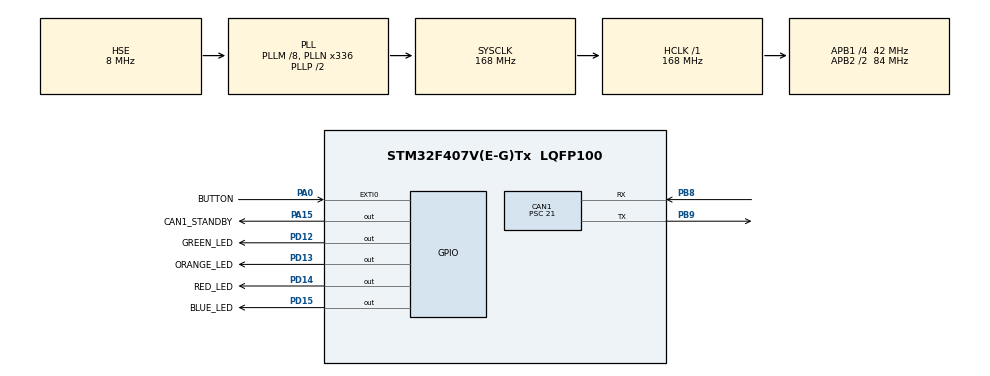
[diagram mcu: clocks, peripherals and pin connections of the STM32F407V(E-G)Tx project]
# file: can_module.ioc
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CAN1.BS1=CAN_BS1_5TQ
CAN1.BS2=CAN_BS2_2TQ
CAN1.CalculateTimeQuantum=500.0
CAN1.Prescaler=21
Mcu.Family=STM32F4
Mcu.Name=STM32F407V(E-G)Tx
Mcu.Package=LQFP100
NVIC.CAN1_RX0_IRQn=true\:1\:0\:true\:false\:true\:true\:true
NVIC.EXTI0_IRQn=true\:1\:0\:true\:false\:true\:true\:true
NVIC.PriorityGroup=NVIC_PRIORITYGROUP_4
PA0-WKUP.GPIO_Label=BUTTON
PA0-WKUP.Signal=GPXTI0
PA15.GPIO_Label=CAN1_STANDBY
PA15.Signal=GPIO_Output
PB8.Mode=Master
PB8.Signal=CAN1_RX
PB9.Mode=Master
PB9.Signal=CAN1_TX
PD12.GPIO_Label=GREEN_LED
PD12.Signal=GPIO_Output
PD13.GPIO_Label=ORANGE_LED
PD13.Signal=GPIO_Output
PD14.GPIO_Label=RED_LED
PD14.Signal=GPIO_Output
PD15.GPIO_Label=BLUE_LED
PD15.Signal=GPIO_Output
PH0-OSC_IN.Mode=HSE-External-Oscillator
PH0-OSC_IN.Signal=RCC_OSC_IN
PH1-OSC_OUT.Mode=HSE-External-Oscillator
PH1-OSC_OUT.Signal=RCC_OSC_OUT
ProjectManager.HeapSize=0x200
ProjectManager.StackSize=0x400
ProjectManager.TargetToolchain=STM32CubeIDE
RCC.48MHZClocksFreq_Value=84000000
RCC.AHBFreq_Value=168000000
RCC.APB1CLKDivider=RCC_HCLK_DIV4
RCC.APB1Freq_Value=42000000
RCC.APB1TimFreq_Value=84000000
RCC.APB2CLKDivider=RCC_HCLK_DIV2
RCC.APB2Freq_Value=84000000
RCC.APB2TimFreq_Value=168000000
RCC.CortexFreq_Value=168000000
RCC.HCLKFreq_Value=168000000
RCC.HSE_VALUE=8000000
RCC.HSI_VALUE=16000000
RCC.LSE_VALUE=32768
RCC.PLLM=8
RCC.PLLN=336
RCC.PLLSourceVirtual=RCC_PLLSOURCE_HSE
RCC.SYSCLKFreq_VALUE=168000000
RCC.SYSCLKSource=RCC_SYSCLKSOURCE_PLLCLK
RCC.VCOOutputFreq_Value=336000000
board=custom

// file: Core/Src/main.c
/* USER CODE BEGIN Header */
/**
  ******************************************************************************
  * @file           : main.c
  * @brief          : Main program body
  ******************************************************************************
  * @attention
  *
  * <h2><center>&copy; Copyright (c) 2020 STMicroelectronics.
  * All rights reserved.</center></h2>
  *
  * This software component is licensed by ST under BSD 3-Clause license,
  * the "License"; You may not use this file except in compliance with the
  * License. You may obtain a copy of the License at:
  *                        opensource.org/licenses/BSD-3-Clause
  *
  ******************************************************************************
  */
/* USER CODE END Header */

#include "main.h"
#include "can.h"
#include "gpio.h"

/* USER CODE BEGIN PV */
CAN_HandleTypeDef hcan1;
CAN_TxHeaderTypeDef pHeader;
CAN_RxHeaderTypeDef pRxHeader;
uint32_t txMailbox;
CAN_FilterTypeDef sFilterConfig;
/* USER CODE END PV */

void SystemClock_Config(void);

int main(void)
{

  /* MCU Configuration--------------------------------------------------------*/

  /* Reset of all peripherals, Initializes the Flash interface and the Systick. */
  HAL_Init();

  /* Configure the system clock */
  SystemClock_Config();

  /* Initialize all configured peripherals */
  MX_GPIO_Init();
  MX_CAN1_Init();
  /* USER CODE BEGIN 2 */
  pHeader.DLC = 1;
  pHeader.IDE = CAN_ID_EXT;
//  pHeader.IDE = CAN_ID_STD;
  pHeader.RTR = CAN_RTR_DATA;
//  pHeader.StdId = 0x244;
  pHeader.ExtId = 0x1FFFFF00;

  sFilterConfig.FilterFIFOAssignment = CAN_FILTER_FIFO0;
//  sFilterConfig.FilterMode = CAN_FILTERMODE_IDLIST;
  sFilterConfig.FilterMode = CAN_FILTERMODE_IDMASK;
  sFilterConfig.FilterScale = CAN_FILTERSCALE_32BIT;
  sFilterConfig.FilterActivation = ENABLE;

  // Mask extended
  uint32_t filter_id = 0x00000002;
  uint32_t filter_mask = 0xFFFFFFFF;

//  sFilterConfig.FilterIdHigh = 0;//((filter_id << 5)  | (filter_id >> (32 - 5))) & 0xFFFF; // STID[10:0] & EXTID[17:13]
//  sFilterConfig.FilterIdLow = 0;//(filter_id >> (11 - 3)) & 0xFFF8; // EXID[12:5] & 3 Reserved bits
//  sFilterConfig.FilterMaskIdHigh = 0;//((filter_mask << 5)  | (filter_mask >> (32 - 5))) & 0xFFFF;
//  sFilterConfig.FilterMaskIdLow = 0;//(filter_mask >> (11 - 3)) & 0xFFF8;

  // Filter for Ext. Id. - mask.
  sFilterConfig.FilterBank = 0;
  sFilterConfig.FilterIdHigh = (filter_id >> 13) & 0xFFFF;
  sFilterConfig.FilterIdLow = (filter_id << 3) & 0xFFF8;
  sFilterConfig.FilterMaskIdHigh = (filter_mask >> 13) & 0xFFFF;
  sFilterConfig.FilterMaskIdLow = (filter_mask << 3) & 0xFFF8;
  HAL_CAN_ConfigFilter(&hcan1, &sFilterConfig);

//  // Filter for Ext. Id. (did not work).
//  sFilterConfig.FilterBank = 0;
//  sFilterConfig.FilterIdHigh = (filter_id >> 13) & 0xFFFF;
//  sFilterConfig.FilterIdLow = (filter_id << 3) & 0xFFF8;
//  sFilterConfig.FilterMaskIdHigh = 0;
//  sFilterConfig.FilterMaskIdLow = 0;
//  HAL_CAN_ConfigFilter(&hcan1, &sFilterConfig);

  // Receive all messages.
//  sFilterConfig.FilterBank = 0;
//  sFilterConfig.FilterIdHigh = filter_id; //<< 5;
//  sFilterConfig.FilterIdLow = 0;
//  sFilterConfig.FilterMaskIdHigh = filter_mask; // << 5;
//  sFilterConfig.FilterMaskIdLow = 0;
//  HAL_CAN_ConfigFilter(&hcan1, &sFilterConfig);

//  // Filter 0x100.0x1FF Standard
//  sFilterConfig.FilterBank = 0;
//  sFilterConfig.FilterIdHigh = 0x100 << 5;
//  sFilterConfig.FilterIdLow = 0;
//  sFilterConfig.FilterMaskIdHigh = 0x77 << 5;
//  sFilterConfig.FilterMaskIdLow = 0;
//  HAL_CAN_ConfigFilter(&hcan1, &sFilterConfig);

//	// Filter list for Standard Ids: 0x245, 0x246, 0x247.
//  sFilterConfig.FilterBank = 0;
//  sFilterConfig.FilterIdHigh = 0x245<<5;
//  sFilterConfig.FilterIdLow = 0;
//  sFilterConfig.FilterMaskIdHigh = 0;
//  sFilterConfig.FilterMaskIdLow = 0;
//  HAL_CAN_ConfigFilter(&hcan1, &sFilterConfig);
//
//  sFilterConfig.FilterBank = 1;
//  sFilterConfig.FilterIdHigh = 0x246<<5;
//  sFilterConfig.FilterIdLow = 0;
//  sFilterConfig.FilterMaskIdHigh = 0;
//  sFilterConfig.FilterMaskIdLow = 0;
//  HAL_CAN_ConfigFilter(&hcan1, &sFilterConfig);
//
//  sFilterConfig.FilterBank = 2;
//  sFilterConfig.FilterIdHigh = 0x247<<5;
//  sFilterConfig.FilterIdLow = 0;
//  sFilterConfig.FilterMaskIdHigh = 0;
//  sFilterConfig.FilterMaskIdLow = 0;
//  HAL_CAN_ConfigFilter(&hcan1, &sFilterConfig);

  HAL_CAN_Start(&hcan1);
  HAL_CAN_ActivateNotification(&hcan1, CAN_IT_RX_FIFO0_MSG_PENDING);
  /* USER CODE END 2 */

  /* Infinite loop */
  while (1)
  {

  }
}

void SystemClock_Config(void)
{
  RCC_OscInitTypeDef RCC_OscInitStruct = {0};
  RCC_ClkInitTypeDef RCC_ClkInitStruct = {0};

  /** Configure the main internal regulator output voltage
  */
  __HAL_RCC_PWR_CLK_ENABLE();
  __HAL_PWR_VOLTAGESCALING_CONFIG(PWR_REGULATOR_VOLTAGE_SCALE1);
  /** Initializes the CPU, AHB and APB busses clocks
  */
  RCC_OscInitStruct.OscillatorType = RCC_OSCILLATORTYPE_HSE;
  RCC_OscInitStruct.HSEState = RCC_HSE_ON;
  RCC_OscInitStruct.PLL.PLLState = RCC_PLL_ON;
  RCC_OscInitStruct.PLL.PLLSource = RCC_PLLSOURCE_HSE;
  RCC_OscInitStruct.PLL.PLLM = 8;
  RCC_OscInitStruct.PLL.PLLN = 336;
  RCC_OscInitStruct.PLL.PLLP = RCC_PLLP_DIV2;
  RCC_OscInitStruct.PLL.PLLQ = 4;
  if (HAL_RCC_OscConfig(&RCC_OscInitStruct) != HAL_OK)
  {
    Error_Handler();
  }
  /** Initializes the CPU, AHB and APB busses clocks
  */
  RCC_ClkInitStruct.ClockType = RCC_CLOCKTYPE_HCLK|RCC_CLOCKTYPE_SYSCLK
                              |RCC_CLOCKTYPE_PCLK1|RCC_CLOCKTYPE_PCLK2;
  RCC_ClkInitStruct.SYSCLKSource = RCC_SYSCLKSOURCE_PLLCLK;
  RCC_ClkInitStruct.AHBCLKDivider = RCC_SYSCLK_DIV1;
  RCC_ClkInitStruct.APB1CLKDivider = RCC_HCLK_DIV4;
  RCC_ClkInitStruct.APB2CLKDivider = RCC_HCLK_DIV2;

  if (HAL_RCC_ClockConfig(&RCC_ClkInitStruct, FLASH_LATENCY_5) != HAL_OK)
  {
    Error_Handler();
  }
}

void Error_Handler(void)
{
}

/************************ (C) COPYRIGHT STMicroelectronics *****END OF FILE****/
